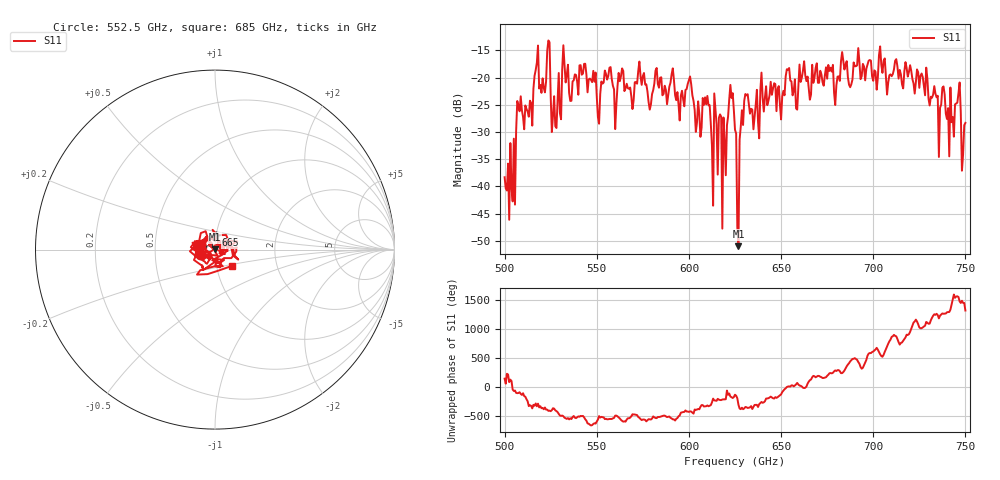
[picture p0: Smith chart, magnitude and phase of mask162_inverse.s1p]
!Created with skrf (http://scikit-rf.org).
# GHz S MA R 50.0
!freq magS11 angS11
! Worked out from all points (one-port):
!   401 points, 500 GHz to 750 GHz, reference 50 ohm
!   lowest |S11| = -51.0 dB at 626.9 GHz (marker M1), VSWR 1.01, Z = 50.2 + j0.215 ohm
!   |S11| at or under -10 dB: start of sweep to end of sweep
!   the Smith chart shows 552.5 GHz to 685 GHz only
!   S11 on the Smith chart (normalised r, x): 552.5 GHz: 0.84, -0.05; 665 GHz: 0.99, +0.16; 685 GHz: 1.19, -0.22
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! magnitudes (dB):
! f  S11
! 500 GHz  -38.3
! 505 GHz  -31.2
! 507.5 GHz  -25.1
! 513.8 GHz  -24.2
! 516.9 GHz  -18.6
! 520.6 GHz  -20.1
! 523.8 GHz  -13.2
! 526.9 GHz  -23.4
! 531.2 GHz  -18.5
! 552.5 GHz  -20.7
! 562.5 GHz  -20.7
! 593.8 GHz  -22.7
! 610 GHz  -23.4
! 611.9 GHz  -28.5
! 615 GHz  -28.6
! 619.4 GHz  -31.5
! 623.1 GHz  -23.8
! 625 GHz  -29.6
! 626.9 GHz  -51.0
! 631.2 GHz  -23.3
! 656.2 GHz  -23.3
! 665 GHz  -21.8
! 685 GHz  -17.6
! 687.5 GHz  -21.8
! 718.8 GHz  -19.8
! 742.5 GHz  -28.2
! 745.6 GHz  -24.6
! 750 GHz  -28.3
